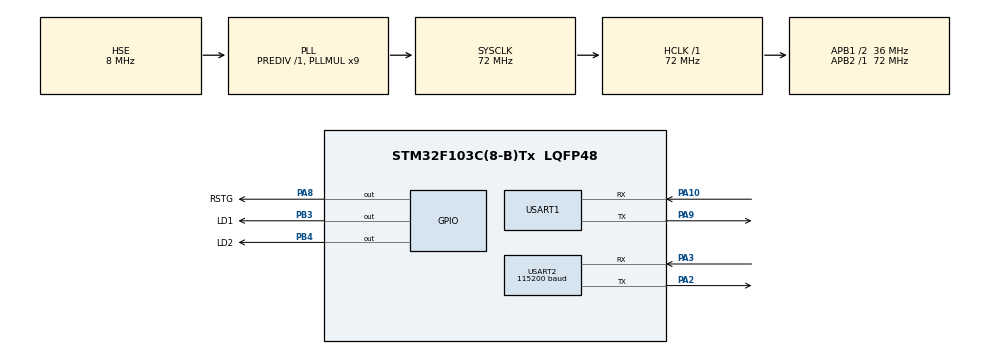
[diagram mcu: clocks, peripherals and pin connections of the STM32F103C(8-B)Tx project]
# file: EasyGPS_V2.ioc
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Mcu.Family=STM32F1
Mcu.Name=STM32F103C(8-B)Tx
Mcu.Package=LQFP48
NVIC.PriorityGroup=NVIC_PRIORITYGROUP_4
NVIC.USART1_IRQn=true\:0\:0\:false\:false\:true
NVIC.USART2_IRQn=true\:0\:0\:false\:false\:true
PA10.Mode=Asynchronous
PA10.Signal=USART1_RX
PA13.Mode=Serial_Wire
PA13.Signal=SYS_JTMS-SWDIO
PA14.Mode=Serial_Wire
PA14.Signal=SYS_JTCK-SWCLK
PA2.Mode=Asynchronous
PA2.Signal=USART2_TX
PA3.Mode=Asynchronous
PA3.Signal=USART2_RX
PA8.GPIO_Label=RSTG
PA8.Signal=GPIO_Output
PA9.Mode=Asynchronous
PA9.Signal=USART1_TX
PB3.GPIO_Label=LD1
PB3.Signal=GPIO_Output
PB4.GPIO_Label=LD2
PB4.Signal=GPIO_Output
PD0-OSC_IN.Mode=HSE-External-Oscillator
PD0-OSC_IN.Signal=RCC_OSC_IN
PD1-OSC_OUT.Mode=HSE-External-Oscillator
PD1-OSC_OUT.Signal=RCC_OSC_OUT
ProjectManager.HeapSize=0x200
ProjectManager.StackSize=0x400
ProjectManager.TargetToolchain=MDK-ARM V5
RCC.AHBFreq_Value=72000000
RCC.APB1CLKDivider=RCC_HCLK_DIV2
RCC.APB1Freq_Value=36000000
RCC.APB1TimFreq_Value=72000000
RCC.APB2Freq_Value=72000000
RCC.APB2TimFreq_Value=72000000
RCC.HCLKFreq_Value=72000000
RCC.PLLMUL=RCC_PLL_MUL9
RCC.PLLSourceVirtual=RCC_PLLSOURCE_HSE
RCC.SYSCLKFreq_VALUE=72000000
RCC.SYSCLKSource=RCC_SYSCLKSOURCE_PLLCLK
RCC.USBFreq_Value=72000000
USART1.VirtualMode=VM_ASYNC
USART2.BaudRate=115200
USART2.VirtualMode=VM_ASYNC
board=EasyGPS_V2

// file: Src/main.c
/**
  ******************************************************************************
  * File Name          : main.c
  * Description        : Main program body
  ******************************************************************************
  *
  * COPYRIGHT(c) 2017 STMicroelectronics
  *
  * Redistribution and use in source and binary forms, with or without modification,
  * are permitted provided that the following conditions are met:
  *   1. Redistributions of source code must retain the above copyright notice,
  *      this list of conditions and the following disclaimer.
  *   2. Redistributions in binary form must reproduce the above copyright notice,
  *      this list of conditions and the following disclaimer in the documentation
  *      and/or other materials provided with the distribution.
  *   3. Neither the name of STMicroelectronics nor the names of its contributors
  *      may be used to endorse or promote products derived from this software
  *      without specific prior written permission.
  *
  * THIS SOFTWARE IS PROVIDED BY THE COPYRIGHT HOLDERS AND CONTRIBUTORS "AS IS"
  * AND ANY EXPRESS OR IMPLIED WARRANTIES, INCLUDING, BUT NOT LIMITED TO, THE
  * IMPLIED WARRANTIES OF MERCHANTABILITY AND FITNESS FOR A PARTICULAR PURPOSE ARE
  * DISCLAIMED. IN NO EVENT SHALL THE COPYRIGHT HOLDER OR CONTRIBUTORS BE LIABLE
  * FOR ANY DIRECT, INDIRECT, INCIDENTAL, SPECIAL, EXEMPLARY, OR CONSEQUENTIAL
  * DAMAGES (INCLUDING, BUT NOT LIMITED TO, PROCUREMENT OF SUBSTITUTE GOODS OR
  * SERVICES; LOSS OF USE, DATA, OR PROFITS; OR BUSINESS INTERRUPTION) HOWEVER
  * CAUSED AND ON ANY THEORY OF LIABILITY, WHETHER IN CONTRACT, STRICT LIABILITY,
  * OR TORT (INCLUDING NEGLIGENCE OR OTHERWISE) ARISING IN ANY WAY OUT OF THE USE
  * OF THIS SOFTWARE, EVEN IF ADVISED OF THE POSSIBILITY OF SUCH DAMAGE.
  *
  ******************************************************************************
  */
#include "stm32f1xx_hal.h"

/* USER CODE BEGIN Includes */
#include <string.h>
#include "nmea.h"
/* USER CODE END Includes */

UART_HandleTypeDef huart1;
UART_HandleTypeDef huart2;

/* USER CODE BEGIN PV */
/* Private variables ---------------------------------------------------------*/

/* USER CODE END PV */

void SystemClock_Config(void);
void Error_Handler(void);
static void MX_GPIO_Init(void);
static void MX_USART1_UART_Init(void);
static void MX_USART2_UART_Init(void);

/* USER CODE BEGIN PFP */
/* Private function prototypes -----------------------------------------------*/

/* USER CODE END PFP */

/* USER CODE BEGIN 0 */
uint8_t u1rxchar[1];
uint8_t u2txbuf[100];
uint8_t gpsbuf[100];
uint8_t gpsstr[100];
uint8_t gps_read_ok = 0;
uint8_t gps_info_update = 0;
uint8_t gpslen = 0;
GPS_INFO_t gps_info;
uint8_t gps_info_send_buffer[59];
uint8_t gps_info_send_buffer_chksum = 0;
/* USER CODE END 0 */

int main(void)
{

    /* MCU Configuration----------------------------------------------------------*/

    /* Reset of all peripherals, Initializes the Flash interface and the Systick. */
    HAL_Init();

    /* Configure the system clock */
    SystemClock_Config();

    /* Initialize all configured peripherals */
    MX_GPIO_Init();
    MX_USART1_UART_Init();
    MX_USART2_UART_Init();
    SystemClock_Config();

    /* USER CODE BEGIN 2 */
    HAL_UART_Receive_IT(&huart1, u1rxchar, 1);
    gps_info_send_buffer[0] = 0xAA;
    gps_info_send_buffer[1] = 0x55;
    /* USER CODE END 2 */

    /* Infinite loop */
    while(1)
    {

        /* USER CODE BEGIN 3 */
        if(gps_read_ok)
        {
            memcpy(gpsstr, gpsbuf, gpslen);
            gps_read_ok = 0;
            //HAL_UART_Transmit_IT(&huart2, gpsstr, gpslen);
            HAL_GPIO_TogglePin(GPIOB, LD1_Pin);

            /*updata gps information*/
            if(strncmp((const char*)gpsstr, "$GNRMC,", 7) == 0)
            {
                nmea_parse_gprmc((char*)gpsstr, &gps_info);
                gps_info_update++;
            }

            if(strncmp((const char*)gpsstr, "$GNGGA,", 7) == 0)
            {
                nmea_parse_gpgga((char*)gpsstr, &gps_info);
                gps_info_update++;
            }

            if(strncmp((const char*)gpsstr, "$GNVTG,", 7) == 0)
            {
                nmea_parse_gpvtg((char*)gpsstr, &gps_info);
                gps_info_update++;
            }

//            if(gps_info.quality != '0')
//            {
//                HAL_GPIO_WritePin(GPIOB, GPIO_PIN_5,  GPIO_PIN_SET);
//            }
//            else
//            {
//                HAL_GPIO_WritePin(GPIOB, GPIO_PIN_5,  GPIO_PIN_RESET);
//            }

            /* Debug message :
            sprintf(u2txbuf,"\x1b[2J");
            HAL_UART_Transmit(&huart2,(uint8_t*)u2txbuf ,strlen(u2txbuf),10000);
            sprintf(u2txbuf,"\x1b[0;0H");
            HAL_UART_Transmit(&huart2,(uint8_t*)u2txbuf ,strlen(u2txbuf),10000);

            sprintf(u2txbuf,"\r\nNMEA Parser Result--------------------------\r\n");
            HAL_UART_Transmit(&huart2,(uint8_t*)u2txbuf ,strlen(u2txbuf),10000);
            sprintf(u2txbuf,"Time: %02d:%02d:%02d\r\n",gps_info.hour,gps_info.minuate,gps_info.sec);
            HAL_UART_Transmit(&huart2,(uint8_t*)u2txbuf ,strlen(u2txbuf),10000);
            sprintf(u2txbuf,"Position:<Lat>%f   <Lng>%f\r\n",gps_info.latitude,gps_info.longitude);
            HAL_UART_Transmit(&huart2,(uint8_t*)u2txbuf ,strlen(u2txbuf),10000);
            sprintf(u2txbuf,"Altitude:%.2f\r\n",gps_info.altitude);
            HAL_UART_Transmit(&huart2,(uint8_t*)u2txbuf ,strlen(u2txbuf),10000);
            sprintf(u2txbuf,"Number of Satellites:%d  Fix Type:%d  HDOP:%.2f\r\n",gps_info.satellites,gps_info.quality,gps_info.hdop);
            HAL_UART_Transmit(&huart2,(uint8_t*)u2txbuf ,strlen(u2txbuf),10000);
            sprintf(u2txbuf,"Heading: %.2f\r\n",gps_info.course);
            HAL_UART_Transmit(&huart2,(uint8_t*)u2txbuf ,strlen(u2txbuf),10000);
            sprintf(u2txbuf,"Ground Speed:%.2f km/h\r\n",gps_info.speed);
            HAL_UART_Transmit(&huart2,(uint8_t*)u2txbuf ,strlen(u2txbuf),10000);
            */
            /*send package to uart*/
            if(gps_info_update > 1)
            {
                gps_info_update = 0;
                memcpy(gps_info_send_buffer + 2, &gps_info, sizeof(gps_info));
                gps_info_send_buffer_chksum = 0;

                for(int i = 0; i < 56; i++)
                {
                    gps_info_send_buffer_chksum += gps_info_send_buffer[i + 2];
                }

                gps_info_send_buffer[58] = gps_info_send_buffer_chksum;
                HAL_UART_Transmit(&huart2, (uint8_t*)gps_info_send_buffer , 59, 10000);
            }

        }

    }

    /* USER CODE END 3 */

}

/** System Clock Configuration
*/
void SystemClock_Config(void)
{

    RCC_OscInitTypeDef RCC_OscInitStruct;
    RCC_ClkInitTypeDef RCC_ClkInitStruct;

    RCC_OscInitStruct.OscillatorType = RCC_OSCILLATORTYPE_HSE;
    RCC_OscInitStruct.HSEState = RCC_HSE_ON;
    RCC_OscInitStruct.HSEPredivValue = RCC_HSE_PREDIV_DIV1;
    RCC_OscInitStruct.HSIState = RCC_HSI_ON;
    RCC_OscInitStruct.PLL.PLLState = RCC_PLL_ON;
    RCC_OscInitStruct.PLL.PLLSource = RCC_PLLSOURCE_HSE;
    RCC_OscInitStruct.PLL.PLLMUL = RCC_PLL_MUL9;

    if(HAL_RCC_OscConfig(&RCC_OscInitStruct) != HAL_OK)
    {
        Error_Handler();
    }

    RCC_ClkInitStruct.ClockType = RCC_CLOCKTYPE_HCLK | RCC_CLOCKTYPE_SYSCLK
                                  | RCC_CLOCKTYPE_PCLK1 | RCC_CLOCKTYPE_PCLK2;
    RCC_ClkInitStruct.SYSCLKSource = RCC_SYSCLKSOURCE_PLLCLK;
    RCC_ClkInitStruct.AHBCLKDivider = RCC_SYSCLK_DIV1;
    RCC_ClkInitStruct.APB1CLKDivider = RCC_HCLK_DIV2;
    RCC_ClkInitStruct.APB2CLKDivider = RCC_HCLK_DIV1;

    if(HAL_RCC_ClockConfig(&RCC_ClkInitStruct, FLASH_LATENCY_2) != HAL_OK)
    {
        Error_Handler();
    }

    HAL_SYSTICK_Config(HAL_RCC_GetHCLKFreq() / 1000);

    HAL_SYSTICK_CLKSourceConfig(SYSTICK_CLKSOURCE_HCLK);

    /* SysTick_IRQn interrupt configuration */
    HAL_NVIC_SetPriority(SysTick_IRQn, 0, 0);
}

/* USART1 init function */
static void MX_USART1_UART_Init(void)
{

    huart1.Instance = USART1;
    huart1.Init.BaudRate = 115200;
    huart1.Init.WordLength = UART_WORDLENGTH_8B;
    huart1.Init.StopBits = UART_STOPBITS_1;
    huart1.Init.Parity = UART_PARITY_NONE;
    huart1.Init.Mode = UART_MODE_TX_RX;
    huart1.Init.HwFlowCtl = UART_HWCONTROL_NONE;
    huart1.Init.OverSampling = UART_OVERSAMPLING_16;

    if(HAL_UART_Init(&huart1) != HAL_OK)
    {
        Error_Handler();
    }

}

/* USART2 init function */
static void MX_USART2_UART_Init(void)
{

    huart2.Instance = USART2;
    huart2.Init.BaudRate = 115200;
    huart2.Init.WordLength = UART_WORDLENGTH_8B;
    huart2.Init.StopBits = UART_STOPBITS_1;
    huart2.Init.Parity = UART_PARITY_NONE;
    huart2.Init.Mode = UART_MODE_TX_RX;
    huart2.Init.HwFlowCtl = UART_HWCONTROL_NONE;
    huart2.Init.OverSampling = UART_OVERSAMPLING_16;

    if(HAL_UART_Init(&huart2) != HAL_OK)
    {
        Error_Handler();
    }

}

/** Configure pins as
        * Analog
        * Input
        * Output
        * EVENT_OUT
        * EXTI
*/
static void MX_GPIO_Init(void)
{

    GPIO_InitTypeDef GPIO_InitStruct;

    /* GPIO Ports Clock Enable */
    __HAL_RCC_GPIOD_CLK_ENABLE();
    __HAL_RCC_GPIOA_CLK_ENABLE();
    __HAL_RCC_GPIOB_CLK_ENABLE();

    /*Configure GPIO pin Output Level */
    HAL_GPIO_WritePin(RSTG_GPIO_Port, RSTG_Pin, GPIO_PIN_RESET);

    /*Configure GPIO pin Output Level */
    HAL_GPIO_WritePin(GPIOB, LD1_Pin | LD2_Pin, GPIO_PIN_RESET);

    /*Configure GPIO pin : RSTG_Pin */
    GPIO_InitStruct.Pin = RSTG_Pin;
    GPIO_InitStruct.Mode = GPIO_MODE_OUTPUT_PP;
    GPIO_InitStruct.Speed = GPIO_SPEED_FREQ_LOW;
    HAL_GPIO_Init(RSTG_GPIO_Port, &GPIO_InitStruct);

    /*Configure GPIO pins : LD1_Pin LD2_Pin */
    GPIO_InitStruct.Pin = LD1_Pin | LD2_Pin;
    GPIO_InitStruct.Mode = GPIO_MODE_OUTPUT_PP;
    GPIO_InitStruct.Speed = GPIO_SPEED_FREQ_LOW;
    HAL_GPIO_Init(GPIOB, &GPIO_InitStruct);

}

/* USER CODE BEGIN 4 */
void HAL_UART_RxCpltCallback(UART_HandleTypeDef *huart)
{
    static int gps_receive_status = 0;
    static int gps_receive_index = 0;

    if(huart->Instance == huart1.Instance)
    {
        if(gps_read_ok)
        {
            HAL_UART_Receive_IT(huart, u1rxchar, 1);
            return;
        }

        switch(gps_receive_status)
        {
        case 0:
            if(u1rxchar[0] == '$')
            {
                gpsbuf[gps_receive_index] = u1rxchar[0];
                gps_receive_index++;
                gps_receive_status++;
            }

            break;

        case 1:
            if(u1rxchar[0] != '\n')
            {
                gpsbuf[gps_receive_index] = u1rxchar[0];
                gps_receive_index++;
            }
            else
            {
                gpsbuf[gps_receive_index++] = u1rxchar[0];
                gpslen = gps_receive_index;
                gps_receive_index = 0;
                gps_receive_status = 0;
                gps_read_ok = 1;
            }

            break;

        }

        HAL_UART_Receive_IT(&huart1, u1rxchar, 1);

    }
}
/* USER CODE END 4 */

void Error_Handler(void)
{
    /* USER CODE BEGIN Error_Handler */
    /* User can add his own implementation to report the HAL error return state */
//    while(1)
//    {

//    }

    /* USER CODE END Error_Handler */
}

/************************ (C) COPYRIGHT STMicroelectronics *****END OF FILE****/
